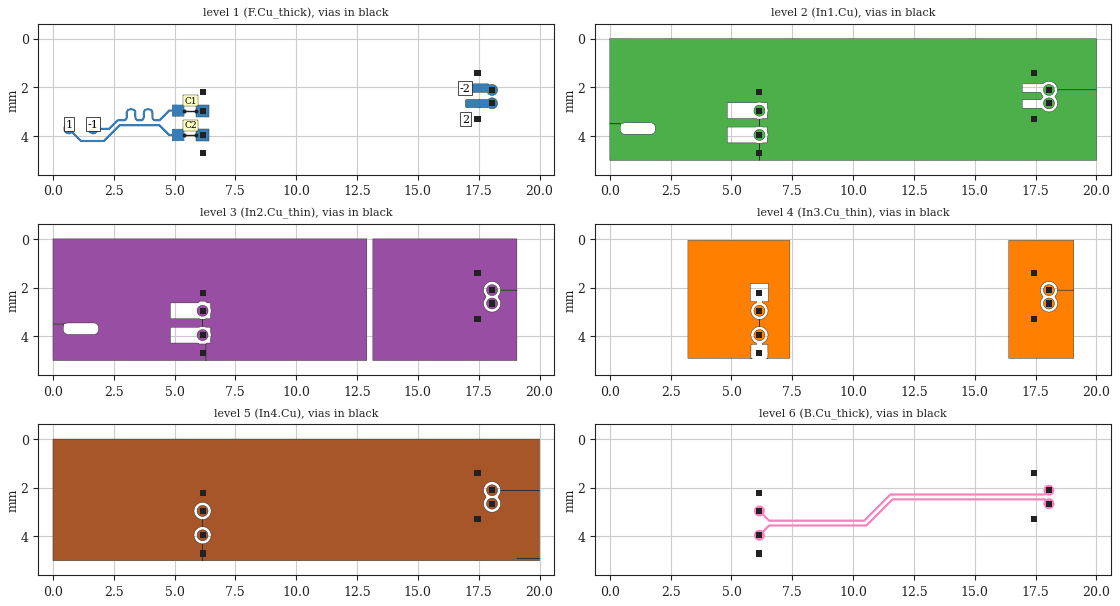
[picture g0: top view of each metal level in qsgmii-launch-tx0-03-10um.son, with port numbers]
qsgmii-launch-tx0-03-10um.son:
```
FTYP SONPROJ 19 ! Sonnet Project File
VER 18.56
HEADER
LIC antikernel2.1.65565
DAT 12/22/2024 21:07:28
BUILT_BY_CREATED xgeom 18.52 11/18/2021 20:28:07
BUILT_BY_SAVED sonnet 18.56
MDATE 12/22/2024 21:07:28
HDATE 12/22/2024 21:07:28
ANN Created by dxfgeo, Sonnet Software Inc.
END HEADER
DIM
ANG DEG
CAP PF
CON /OH
FREQ GHZ
IND NH
LNG MM
RES OH
END DIM
CONTROL
VARSWP
OPTIONS  -dj
SPEED 1
CACHE_ABS 2
Q_ACC N
END CONTROL
GEO
TMET "Free Space" 0 FREESPACE 376.7303136 0 0 0
BMET "Free Space" 0 FREESPACE 376.7303136 0 0 0
MET "Copper_1oz_thin" 1 NOR 58000000 0.5 0.035 
MET "Copper_1oz_thick" 2 TMM 58000000 0.5 0.035 2
MET "Copper_1oz_thick_down" 3 TMM 58000000 0.5 0.035 2 CDVY TDWN
MET "Copper_0.5oz_thin" 4 NOR 58000000 0.5 0.017 
MET "Copper_0.5oz_thick" 12 TMM 58000000 0.5 0.017 2
MET "Copper_0.5oz_thick_down" 5 TMM 58000000 0.5 0.017 2 CDVY TDWN
BOX 8 20 5 4000 1000 20 0
      5 1 1 0 0 0 0 "Air"
      0.04 3.5 1 0.025 0 0 0 "Soldermask"
      0.076 4.07 1 0.02 0 0 0 "Shengyi_S1000-2M"
      0.1 4.24 1 0.019 0 0 0 "Shengyi_S1000-2M"
      1.038 4.58 1 0.016 0 0 0 "Shengyi_S1000-2M"
      0.1 4.24 1 0.019 0 0 0 "Shengyi_S1000-2M"
      0.076 4.07 1 0.02 0 0 0 "Shengyi_S1000-2M"
      0.04 3.5 1 0.025 0 0 0 "Soldermask"
      5 1 1 0 0 0 0 "Air"
TECHLAY METAL F.Cu_thick L1D0 -2 -65534 CAD F.Cu_thick drawing 
1 0 1 N 1423 1 1 100 100 0 0 0 Y
END
END
TECHLAY VIA Via1 L7D0 -13 -65534 CAD Via1 drawing 
VIA POLYGON
1 0 -1 N 1433 1 1 100 100 0 0 0 Y
TOLEVEL 6 RING NOCOVERS
END
END
TECHLAY METAL F.Cu_thin <UNSPECIFIED> -1 -65534 CAD F.Cu_thin drawing 
1 0 0 N 1435 1 1 100 100 0 0 0 Y
END
END
TECHLAY METAL In1.Cu L2D0 -3 -65534 CAD In1.Cu drawing 
2 0 0 N 1442 1 1 100 100 0 0 0 Y
END
END
TECHLAY METAL In2.Cu_thin L3D0 -4 -65534 CAD In2.Cu drawing 
3 0 3 N 1445 1 1 100 100 0 0 0 Y
END
END
TECHLAY METAL In2.Cu_thick <UNSPECIFIED> -5 -65534 CAD In2.Cu_thick drawing 
3 0 4 N 1447 1 1 100 100 0 0 0 Y
END
END
TECHLAY METAL In3.Cu_thin L4D0 -8 -65534 CAD In5.Cu drawing 
4 0 3 N 1450 1 1 100 100 0 0 0 Y
END
END
TECHLAY METAL In3.Cu <UNSPECIFIED> -6 -65534 CAD In3.Cu drawing 
4 0 0 N 1468 1 1 100 100 0 0 0 Y
END
END
TECHLAY METAL In4.Cu L5D0 -10 -65534 CAD In6.Cu drawing 
5 0 0 N 1453 1 1 100 100 0 0 0 Y
END
END
TECHLAY METAL B.Cu_thick L6D0 -12 -65534 CAD B.Cu_thick drawing 
6 0 2 N 1456 1 1 100 100 0 0 0 Y
END
END
TECHLAY METAL B.Cu_thin <UNSPECIFIED> -11 -65534 CAD B.Cu_thin drawing 
6 0 0 N 1458 1 1 100 100 0 0 0 Y
END
END
TECHLAY METAL In3.Cu_thick <UNSPECIFIED> -9 -65534 CAD In5.Cu_thick drawing 
8 0 5 N 1462 1 1 100 100 0 0 0 Y
END
END
VALVAR WIDTH LNG 0.1 "Dim. Param."
VALVAR WIDTH2 LNG "WIDTH" "Dim. Param."
VALVAR SPACE LNG 0.15 "Dim. Param."
LORGN 0 5 U 
POR1 CUP Auto
GNDREF AUTO
TERMW FEED
POLY 42 1
87
-2 100 0 0 0 16.95 2.0305 
CUPGRP "Auto" LOCAL
ID 1425
END
POR1 CUP Auto
GNDREF AUTO
TERMW FEED
POLY 43 1
84
2 100 0 0 0 16.95 2.6655 
CUPGRP "Auto" LOCAL
ID 1427
END
POR1 CUP Auto
GNDREF FLOAT
TERMW FEED
POLY 1312 1
56
1 100 0 0 0 0.65 3.5 
CUPGRP "Auto" LOCAL
ID 1429
END
POR1 CUP Auto
GNDREF FLOAT
TERMW FEED
POLY 1313 1
418
-1 100 0 0 0 1.65 3.5 
CUPGRP "Auto" LOCAL
ID 1431
END
SMD 1 "C1"
ID 1390
GNDREF FLOAT
SBOX 5.525 5.775 2.918 2.993
PBSHW N
LPOS 5.65 2.918
TYPE IDEAL CAP 100000
SMDP 1 5.4 2.9555 L 3 1 
EXSMDP
GNDREF FLOAT
TERMW FEED
END EXSMDP
SMDP 1 5.9 2.9555 R 4 2 
EXSMDP
GNDREF FLOAT
TERMW FEED
END EXSMDP
END
SMD 1 "C2"
ID 1395
GNDREF FLOAT
SBOX 5.525 5.775 3.918 3.993
PBSHW N
LPOS 5.65 3.918
TYPE IDEAL CAP 100000
SMDP 1 5.4 3.9555 L 5 1 
EXSMDP
GNDREF FLOAT
TERMW FEED
END EXSMDP
SMDP 1 5.9 3.9555 R 6 2 
EXSMDP
GNDREF FLOAT
TERMW FEED
END EXSMDP
END
NUM 38
1 89 1 N 42 1 1 100 100 0 0 0 Y
TLAYNAM F.Cu_thick INH
16.95 1.9385
16.951 1.9305
16.953 1.9215
16.955 1.9135
16.958 1.9055
16.962 1.8985
16.967 1.8905
16.985 1.8725
16.993 1.8675
17 1.8635
17.008 1.8605
17.016 1.8585
17.025 1.8565
17.033 1.8555
17.867 1.8555
17.875 1.8565
17.884 1.8585
17.892 1.8605
17.9 1.8635
17.907 1.8675
17.915 1.8725
17.933 1.8905
17.938 1.8985
17.942 1.9055
17.943 1.9085
17.954 1.9025
17.974 1.8935
17.995 1.8875
18.017 1.8825
18.039 1.8805
18.061 1.8805
18.083 1.8825
18.105 1.8875
18.126 1.8935
18.146 1.9025
18.166 1.9125
18.184 1.9245
18.201 1.9385
18.217 1.9545
18.231 1.9715
18.243 1.9895
18.253 2.0095
18.262 2.0295
18.268 2.0505
18.273 2.0725
18.275 2.0945
18.275 2.1165
18.273 2.1385
18.268 2.1605
18.262 2.1815
18.253 2.2015
18.243 2.2215
18.231 2.2395
18.217 2.2565
18.201 2.2725
18.184 2.2865
18.166 2.2985
18.146 2.3085
18.126 2.3175
18.105 2.3235
18.083 2.3285
18.061 2.3305
18.039 2.3305
18.017 2.3285
17.995 2.3235
17.974 2.3175
17.954 2.3085
17.934 2.2985
17.916 2.2865
17.899 2.2725
17.883 2.2565
17.869 2.2395
17.857 2.2215
17.849 2.2055
17.033 2.2055
17.025 2.2045
17.016 2.2025
17.008 2.2005
17 2.1975
16.993 2.1935
16.985 2.1885
16.967 2.1705
16.962 2.1625
16.958 2.1555
16.955 2.1475
16.953 2.1395
16.951 2.1305
16.95 2.1225
16.95 1.9385
END
1 86 1 N 43 1 1 100 100 0 0 0 Y
TLAYNAM F.Cu_thick INH
16.95 2.5735
16.951 2.5655
16.953 2.5565
16.955 2.5485
16.958 2.5405
16.962 2.5335
16.967 2.5255
16.985 2.5075
16.993 2.5025
17 2.4985
17.008 2.4955
17.016 2.4935
17.025 2.4915
17.033 2.4905
17.867 2.4905
17.875 2.4915
17.884 2.4935
17.892 2.4955
17.899 2.4885
17.916 2.4745
17.934 2.4625
17.954 2.4525
17.974 2.4435
17.995 2.4375
18.017 2.4325
18.039 2.4305
18.061 2.4305
18.083 2.4325
18.105 2.4375
18.126 2.4435
18.146 2.4525
18.166 2.4625
18.184 2.4745
18.201 2.4885
18.217 2.5045
18.231 2.5215
18.243 2.5395
18.253 2.5595
18.262 2.5795
18.268 2.6005
18.273 2.6225
18.275 2.6445
18.275 2.6665
18.273 2.6885
18.268 2.7105
18.262 2.7315
18.253 2.7515
18.243 2.7715
18.231 2.7895
18.217 2.8065
18.201 2.8225
18.184 2.8365
18.166 2.8485
18.146 2.8585
18.126 2.8675
18.105 2.8735
18.083 2.8785
18.061 2.8805
18.039 2.8805
18.017 2.8785
17.995 2.8735
17.974 2.8675
17.954 2.8585
17.934 2.8485
17.916 2.8365
17.907 2.8285
17.9 2.8325
17.892 2.8355
17.884 2.8375
17.875 2.8395
17.867 2.8405
17.033 2.8405
17.025 2.8395
17.016 2.8375
17.008 2.8355
17 2.8325
16.993 2.8285
16.985 2.8235
16.967 2.8055
16.962 2.7975
16.958 2.7905
16.955 2.7825
16.953 2.7745
16.951 2.7655
16.95 2.7575
16.95 2.5735
END
1 5 1 N 75 1 1 100 100 0 0 0 Y
TLAYNAM F.Cu_thick INH
5.9 2.7055
6.4 2.7055
6.4 3.2055
5.9 3.2055
5.9 2.7055
END
1 5 1 N 76 1 1 100 100 0 0 0 Y
TLAYNAM F.Cu_thick INH
5.9 3.7055
6.4 3.7055
6.4 4.2055
5.9 4.2055
5.9 3.7055
END
1 101 1 N 1312 1 1 100 100 0 0 0 Y
TLAYNAM F.Cu_thick INH
2.102 4.2495
2.107 4.2475
2.111 4.2465
2.115 4.2445
2.118 4.2415
2.122 4.2385
2.128 4.2325
2.129 4.2305
2.759 3.6005
4.357 3.6005
4.748 3.9915
4.752 3.9945
4.756 3.9965
4.76 3.9975
4.764 3.9995
4.768 4.0005
4.9 4.0005
4.9 4.2055
5.4 4.2055
5.4 3.7055
4.9 3.7055
4.9 3.9105
4.793 3.9105
4.402 3.5195
4.398 3.5165
4.394 3.5145
4.39 3.5135
4.386 3.5115
4.382 3.5105
2.734 3.5105
2.73 3.5115
2.726 3.5135
2.722 3.5145
2.718 3.5165
2.714 3.5195
2.073 4.1605
1.168 4.1605
0.837 3.8295
0.843 3.8215
0.853 3.8015
0.862 3.7815
0.868 3.7605
0.873 3.7385
0.875 3.7165
0.875 3.6945
0.873 3.6725
0.868 3.6505
0.862 3.6295
0.853 3.6095
0.843 3.5895
0.831 3.5715
0.817 3.5545
0.801 3.5385
0.784 3.5245
0.766 3.5125
0.746 3.5025
0.7404444444 3.5
0.5595555556 3.5
0.554 3.5025
0.534 3.5125
0.516 3.5245
0.499 3.5385
0.483 3.5545
0.469 3.5715
0.457 3.5895
0.447 3.6095
0.438 3.6295
0.432 3.6505
0.427 3.6725
0.425 3.6945
0.425 3.7165
0.427 3.7385
0.432 3.7605
0.438 3.7815
0.447 3.8015
0.457 3.8215
0.469 3.8395
0.483 3.8565
0.499 3.8725
0.516 3.8865
0.534 3.8985
0.554 3.9085
0.574 3.9175
0.595 3.9235
0.617 3.9285
0.639 3.9305
0.661 3.9305
0.683 3.9285
0.705 3.9235
0.726 3.9175
0.746 3.9085
0.766 3.8985
0.774 3.8925
1.123 4.2415
1.127 4.2445
1.131 4.2465
1.135 4.2475
1.139 4.2495
1.143 4.2505
2.098 4.2505
2.102 4.2495
END
1 450 1 N 1313 1 1 100 100 0 0 0 Y
TLAYNAM F.Cu_thick INH
1.683 3.9285
1.705 3.9235
1.726 3.9175
1.746 3.9085
1.766 3.8985
1.784 3.8865
1.801 3.8725
1.817 3.8565
1.831 3.8395
1.843 3.8215
1.853 3.8015
1.862 3.7815
1.868 3.7605
1.87 3.7505
2.316 3.7505
2.32 3.7495
2.324 3.7475
2.328 3.7465
2.332 3.7445
2.336 3.7415
2.677 3.4005
2.904 3.4005
2.906 3.3995
2.908 3.3995
2.931 3.3975
2.932 3.3975
2.936 3.3965
2.94 3.3945
2.944 3.3935
2.957 3.3895
2.962 3.3885
2.966 3.3865
2.97 3.3855
2.974 3.3835
2.975 3.3825
2.978 3.3805
3.002 3.3685
3.018 3.3545
3.02 3.3535
3.023 3.3505
3.027 3.3485
3.03 3.3445
3.05 3.3205
3.053 3.3165
3.068 3.2885
3.069 3.2845
3.071 3.2805
3.072 3.2765
3.072 3.2745
3.079 3.2535
3.08 3.2495
3.08 3.2355
3.081 3.2265
3.081 3.2255
3.082 3.2225
3.082 3.0485
3.083 3.0315
3.083 3.0305
3.089 3.0095
3.095 2.9955
3.104 2.9815
3.115 2.9705
3.135 2.9575
3.144 2.9535
3.161 2.9495
3.183 2.9475
3.241 2.9475
3.267 2.9495
3.283 2.9555
3.302 2.9655
3.315 2.9765
3.326 2.9885
3.334 3.0045
3.339 3.0175
3.339 3.0185
3.342 3.0495
3.342 3.2225
3.343 3.2245
3.343 3.2265
3.344 3.2455
3.345 3.2495
3.346 3.2545
3.348 3.2595
3.351 3.2695
3.351 3.2715
3.352 3.2765
3.354 3.2805
3.366 3.3065
3.368 3.3105
3.37 3.3125
3.384 3.3335
3.391 3.3405
3.394 3.3425
3.401 3.3495
3.403 3.3525
3.409 3.3585
3.424 3.3685
3.428 3.3725
3.432 3.3745
3.436 3.3775
3.462 3.3895
3.47 3.3915
3.475 3.3925
3.484 3.3945
3.488 3.3955
3.492 3.3975
3.497 3.3985
3.498 3.3985
3.516 3.3995
3.518 3.3995
3.52 3.4005
3.604 3.4005
3.606 3.3995
3.608 3.3995
3.631 3.3975
3.632 3.3975
3.636 3.3965
3.64 3.3945
3.644 3.3935
3.657 3.3895
3.662 3.3885
3.666 3.3865
3.67 3.3855
3.674 3.3835
3.675 3.3825
3.678 3.3805
3.702 3.3685
3.718 3.3545
3.72 3.3535
3.723 3.3505
3.727 3.3485
3.73 3.3445
3.75 3.3205
3.753 3.3165
3.768 3.2885
3.769 3.2845
3.771 3.2805
3.772 3.2765
3.772 3.2745
3.779 3.2535
3.78 3.2495
3.78 3.2355
3.781 3.2265
3.781 3.2255
3.782 3.2225
3.782 3.0495
3.785 3.0215
3.79 3.0065
3.8 2.9875
3.805 2.9805
3.806 2.9805
3.824 2.9645
3.842 2.9555
3.858 2.9495
3.884 2.9475
3.941 2.9475
3.967 2.9495
3.983 2.9555
4.002 2.9655
4.015 2.9765
4.026 2.9885
4.034 3.0045
4.039 3.0175
4.039 3.0185
4.042 3.0495
4.042 3.2225
4.043 3.2245
4.043 3.2265
4.044 3.2455
4.045 3.2495
4.046 3.2545
4.048 3.2595
4.051 3.2695
4.051 3.2715
4.052 3.2765
4.054 3.2805
4.066 3.3065
4.068 3.3105
4.07 3.3125
4.084 3.3335
4.091 3.3405
4.094 3.3425
4.101 3.3495
4.103 3.3525
4.109 3.3585
4.124 3.3685
4.128 3.3725
4.132 3.3745
4.136 3.3775
4.162 3.3895
4.17 3.3915
4.175 3.3925
4.184 3.3945
4.188 3.3955
4.192 3.3975
4.197 3.3985
4.198 3.3985
4.216 3.3995
4.219 3.4005
4.382 3.4005
4.386 3.3995
4.39 3.3975
4.394 3.3965
4.398 3.3945
4.402 3.3915
4.793 3.0005
4.9 3.0005
4.9 3.2055
5.4 3.2055
5.4 2.7055
4.9 2.7055
4.9 2.9105
4.768 2.9105
4.764 2.9115
4.76 2.9135
4.756 2.9145
4.752 2.9165
4.748 2.9195
4.357 3.3105
4.233 3.3105
4.211 3.3085
4.194 3.3045
4.185 3.3005
4.165 3.2875
4.154 3.2765
4.145 3.2615
4.139 3.2485
4.133 3.2275
4.133 3.2265
4.132 3.2095
4.132 3.0355
4.131 3.0325
4.131 3.0315
4.13 3.0225
4.13 3.0085
4.129 3.0045
4.122 2.9835
4.122 2.9815
4.121 2.9775
4.119 2.9735
4.118 2.9695
4.103 2.9415
4.1 2.9375
4.08 2.9135
4.077 2.9095
4.073 2.9075
4.07 2.9045
4.068 2.9035
4.052 2.8895
4.028 2.8775
4.025 2.8745
4.024 2.8745
4.02 2.8725
4.016 2.8715
4.012 2.8695
4.007 2.8685
3.994 2.8645
3.986 2.8615
3.982 2.8605
3.981 2.8605
3.958 2.8585
3.956 2.8585
3.954 2.8575
3.87 2.8575
3.867 2.8585
3.866 2.8585
3.843 2.8605
3.835 2.8625
3.83 2.8645
3.818 2.8685
3.817 2.8685
3.813 2.8695
3.809 2.8715
3.804 2.8725
3.801 2.8745
3.8 2.8745
3.781 2.8855
3.777 2.8875
3.773 2.8905
3.77 2.8935
3.766 2.8965
3.759 2.9025
3.758 2.9025
3.755 2.9045
3.751 2.9075
3.745 2.9135
3.724 2.9375
3.712 2.9615
3.709 2.9645
3.709 2.9655
3.707 2.9695
3.706 2.9735
3.704 2.9775
3.703 2.9825
3.696 3.0035
3.695 3.0085
3.693 3.0315
3.693 3.0325
3.692 3.0355
3.692 3.2085
3.689 3.2395
3.689 3.2405
3.684 3.2535
3.676 3.2695
3.665 3.2815
3.652 3.2925
3.633 3.3025
3.617 3.3085
3.591 3.3105
3.533 3.3105
3.511 3.3085
3.494 3.3045
3.485 3.3005
3.465 3.2875
3.454 3.2765
3.445 3.2615
3.439 3.2485
3.433 3.2275
3.433 3.2265
3.432 3.2095
3.432 3.0355
3.431 3.0325
3.431 3.0315
3.43 3.0225
3.43 3.0085
3.429 3.0045
3.422 2.9835
3.422 2.9815
3.421 2.9775
3.419 2.9735
3.418 2.9695
3.403 2.9415
3.4 2.9375
3.38 2.9135
3.377 2.9095
3.373 2.9075
3.37 2.9045
3.368 2.9035
3.352 2.8895
3.328 2.8775
3.325 2.8745
3.324 2.8745
3.32 2.8725
3.316 2.8715
3.312 2.8695
3.307 2.8685
3.294 2.8645
3.286 2.8615
3.282 2.8605
3.281 2.8605
3.258 2.8585
3.256 2.8585
3.254 2.8575
3.168 2.8575
3.166 2.8585
3.148 2.8595
3.147 2.8595
3.142 2.8605
3.141 2.8615
3.125 2.8655
3.12 2.8665
3.112 2.8685
3.086 2.8805
3.082 2.8835
3.078 2.8855
3.074 2.8895
3.059 2.8995
3.053 2.9055
3.051 2.9085
3.044 2.9155
3.041 2.9175
3.034 2.9245
3.02 2.9455
3.018 2.9475
3.016 2.9515
3.004 2.9775
3.003 2.9795
3.003 2.9815
3.002 2.9835
3.001 2.9865
3.001 2.9885
2.998 2.9985
2.996 3.0035
2.995 3.0085
2.994 3.0125
2.993 3.0315
2.993 3.0335
2.992 3.0355
2.992 3.2085
2.989 3.2395
2.989 3.2405
2.984 3.2535
2.976 3.2695
2.965 3.2815
2.952 3.2925
2.933 3.3025
2.917 3.3085
2.891 3.3105
2.652 3.3105
2.647 3.3115
2.643 3.3135
2.639 3.3145
2.635 3.3165
2.631 3.3195
2.622 3.3285
2.621 3.3305
2.291 3.6605
1.87 3.6605
1.868 3.6505
1.862 3.6295
1.853 3.6095
1.843 3.5895
1.831 3.5715
1.817 3.5545
1.801 3.5385
1.784 3.5245
1.766 3.5125
1.746 3.5025
1.740444444 3.5
1.559555556 3.5
1.554 3.5025
1.534 3.5125
1.516 3.5245
1.499 3.5385
1.483 3.5545
1.469 3.5715
1.457 3.5895
1.447 3.6095
1.438 3.6295
1.432 3.6505
1.427 3.6725
1.425 3.6945
1.425 3.7165
1.427 3.7385
1.432 3.7605
1.438 3.7815
1.447 3.8015
1.457 3.8215
1.469 3.8395
1.483 3.8565
1.499 3.8725
1.516 3.8865
1.534 3.8985
1.554 3.9085
1.574 3.9175
1.595 3.9235
1.617 3.9285
1.639 3.9305
1.661 3.9305
1.683 3.9285
END
VIA POLYGON
1 5 -1 N 953 1 1 100 100 0 0 0 Y
TOLEVEL 6 RING NOCOVERS
TLAYNAM Via1 INH
17.325 1.2705
17.575 1.2705
17.575 1.5205
17.325 1.5205
17.325 1.2705
END
VIA POLYGON
1 5 -1 N 954 1 1 100 100 0 0 0 Y
TOLEVEL 6 RING NOCOVERS
TLAYNAM Via1 INH
17.325 3.1755
17.575 3.1755
17.575 3.4255
17.325 3.4255
17.325 3.1755
END
VIA POLYGON
1 5 -1 N 962 1 1 100 100 0 0 0 Y
TOLEVEL 6 RING NOCOVERS
TLAYNAM Via1 INH
17.925 1.9805
18.175 1.9805
18.175 2.2305
17.925 2.2305
17.925 1.9805
END
VIA POLYGON
1 5 -1 N 963 1 1 100 100 0 0 0 Y
TOLEVEL 6 RING NOCOVERS
TLAYNAM Via1 INH
17.925 2.5305
18.175 2.5305
18.175 2.7805
17.925 2.7805
17.925 2.5305
END
VIA POLYGON
1 5 -1 N 1007 1 1 100 100 0 0 0 Y
TOLEVEL 6 RING NOCOVERS
TLAYNAM Via1 INH
6.025 2.0805
6.275 2.0805
6.275 2.3305
6.025 2.3305
6.025 2.0805
END
VIA POLYGON
1 5 -1 N 1008 1 1 100 100 0 0 0 Y
TOLEVEL 6 RING NOCOVERS
TLAYNAM Via1 INH
6.025 2.8305
6.275 2.8305
6.275 3.0805
6.025 3.0805
6.025 2.8305
END
VIA POLYGON
1 5 -1 N 1009 1 1 100 100 0 0 0 Y
TOLEVEL 6 RING NOCOVERS
TLAYNAM Via1 INH
6.025 3.8305
6.275 3.8305
6.275 4.0805
6.025 4.0805
6.025 3.8305
END
VIA POLYGON
1 5 -1 N 1010 1 1 100 100 0 0 0 Y
TOLEVEL 6 RING NOCOVERS
TLAYNAM Via1 INH
6.025 4.5805
6.275 4.5805
6.275 4.8305
6.025 4.8305
6.025 4.5805
END
2 65 0 N 366 1 1 100 100 0 0 0 Y
TLAYNAM In1.Cu INH
5.925 2.9445
5.927 2.9225
5.932 2.9005
5.938 2.8795
5.947 2.8595
5.957 2.8395
5.969 2.8215
5.983 2.8045
5.999 2.7885
6.016 2.7745
6.034 2.7625
6.054 2.7525
6.074 2.7435
6.095 2.7375
6.117 2.7325
6.139 2.7305
6.161 2.7305
6.183 2.7325
6.205 2.7375
6.226 2.7435
6.246 2.7525
6.266 2.7625
6.284 2.7745
6.301 2.7885
6.317 2.8045
6.331 2.8215
6.343 2.8395
6.353 2.8595
6.362 2.8795
6.368 2.9005
6.373 2.9225
6.375 2.9445
6.375 2.9665
6.373 2.9885
6.368 3.0105
6.362 3.0315
6.353 3.0515
6.343 3.0715
6.331 3.0895
6.317 3.1065
6.301 3.1225
6.284 3.1365
6.266 3.1485
6.246 3.1585
6.226 3.1675
6.205 3.1735
6.183 3.1785
6.161 3.1805
6.139 3.1805
6.117 3.1785
6.095 3.1735
6.074 3.1675
6.054 3.1585
6.034 3.1485
6.016 3.1365
5.999 3.1225
5.983 3.1065
5.969 3.0895
5.957 3.0715
5.947 3.0515
5.938 3.0315
5.932 3.0105
5.927 2.9885
5.925 2.9665
5.925 2.9445
END
2 65 0 N 367 1 1 100 100 0 0 0 Y
TLAYNAM In1.Cu INH
5.925 3.9445
5.927 3.9225
5.932 3.9005
5.938 3.8795
5.947 3.8595
5.957 3.8395
5.969 3.8215
5.983 3.8045
5.999 3.7885
6.016 3.7745
6.034 3.7625
6.054 3.7525
6.074 3.7435
6.095 3.7375
6.117 3.7325
6.139 3.7305
6.161 3.7305
6.183 3.7325
6.205 3.7375
6.226 3.7435
6.246 3.7525
6.266 3.7625
6.284 3.7745
6.301 3.7885
6.317 3.8045
6.331 3.8215
6.343 3.8395
6.353 3.8595
6.362 3.8795
6.368 3.9005
6.373 3.9225
6.375 3.9445
6.375 3.9665
6.373 3.9885
6.368 4.0105
6.362 4.0315
6.353 4.0515
6.343 4.0715
6.331 4.0895
6.317 4.1065
6.301 4.1225
6.284 4.1365
6.266 4.1485
6.246 4.1585
6.226 4.1675
6.205 4.1735
6.183 4.1785
6.161 4.1805
6.139 4.1805
6.117 4.1785
6.095 4.1735
6.074 4.1675
6.054 4.1585
6.034 4.1485
6.016 4.1365
5.999 4.1225
5.983 4.1065
5.969 4.0895
5.957 4.0715
5.947 4.0515
5.938 4.0315
5.932 4.0105
5.927 3.9885
5.925 3.9665
5.925 3.9445
END
2 65 0 N 372 1 1 100 100 0 0 0 Y
TLAYNAM In1.Cu INH
17.825 2.0945
17.827 2.0725
17.832 2.0505
17.838 2.0295
17.847 2.0095
17.857 1.9895
17.869 1.9715
17.883 1.9545
17.899 1.9385
17.916 1.9245
17.934 1.9125
17.954 1.9025
17.974 1.8935
17.995 1.8875
18.017 1.8825
18.039 1.8805
18.061 1.8805
18.083 1.8825
18.105 1.8875
18.126 1.8935
18.146 1.9025
18.166 1.9125
18.184 1.9245
18.201 1.9385
18.217 1.9545
18.231 1.9715
18.243 1.9895
18.253 2.0095
18.262 2.0295
18.268 2.0505
18.273 2.0725
18.275 2.0945
18.275 2.1165
18.273 2.1385
18.268 2.1605
18.262 2.1815
18.253 2.2015
18.243 2.2215
18.231 2.2395
18.217 2.2565
18.201 2.2725
18.184 2.2865
18.166 2.2985
18.146 2.3085
18.126 2.3175
18.105 2.3235
18.083 2.3285
18.061 2.3305
18.039 2.3305
18.017 2.3285
17.995 2.3235
17.974 2.3175
17.954 2.3085
17.934 2.2985
17.916 2.2865
17.899 2.2725
17.883 2.2565
17.869 2.2395
17.857 2.2215
17.847 2.2015
17.838 2.1815
17.832 2.1605
17.827 2.1385
17.825 2.1165
17.825 2.0945
END
2 65 0 N 373 1 1 100 100 0 0 0 Y
TLAYNAM In1.Cu INH
17.825 2.6445
17.827 2.6225
17.832 2.6005
17.838 2.5795
17.847 2.5595
17.857 2.5395
17.869 2.5215
17.883 2.5045
17.899 2.4885
17.916 2.4745
17.934 2.4625
17.954 2.4525
17.974 2.4435
17.995 2.4375
18.017 2.4325
18.039 2.4305
18.061 2.4305
18.083 2.4325
18.105 2.4375
18.126 2.4435
18.146 2.4525
18.166 2.4625
18.184 2.4745
18.201 2.4885
18.217 2.5045
18.231 2.5215
18.243 2.5395
18.253 2.5595
18.262 2.5795
18.268 2.6005
18.273 2.6225
18.275 2.6445
18.275 2.6665
18.273 2.6885
18.268 2.7105
18.262 2.7315
18.253 2.7515
18.243 2.7715
18.231 2.7895
18.217 2.8065
18.201 2.8225
18.184 2.8365
18.166 2.8485
18.146 2.8585
18.126 2.8675
18.105 2.8735
18.083 2.8785
18.061 2.8805
18.039 2.8805
18.017 2.8785
17.995 2.8735
17.974 2.8675
17.954 2.8585
17.934 2.8485
17.916 2.8365
17.899 2.8225
17.883 2.8065
17.869 2.7895
17.857 2.7715
17.847 2.7515
17.838 2.7315
17.832 2.7105
17.827 2.6885
17.825 2.6665
17.825 2.6445
END
2 177 0 N 1339 1 1 100 100 0 0 0 Y
TLAYNAM In1.Cu INH
20 1.1
20 0
0 0
0 0.0605
0 0.6731470588
0 0.7372857143
0 0.8285
0 1.578863636
0 1.673714286
0 1.737285714
0 1.8285
0 2.578863636
0 2.673714286
0 2.737285714
0 2.8285
0 3.44
0 3.5
0.423 3.5
0.46 3.5
0.46 3.467015152
0.476 3.4835
0.523 3.4835
0.586 3.4575
0.625 3.4555
1.675 3.4555
1.714 3.4575
1.787 3.4875
1.843 3.5435
1.873 3.6165
1.874 3.6435
1.875 3.6555
1.875 3.7305
1.874 3.7435
1.873 3.7695
1.843 3.8425
1.787 3.8985
1.714 3.9285
1.675 3.9305
1.195 3.9305
1.195 3.93
1.105 3.93
1.105 3.9305
0.625 3.9305
0.586 3.9285
0.513 3.8985
0.457 3.8425
0.427 3.7695
0.425 3.7305
0.425 3.6555
0.427 3.6165
0.446 3.5695
0.448 3.5645
0.444 3.5175
0.423 3.5
0 3.5
0 3.5
0 3.578863636
0 3.673714286
0 3.737285714
0 3.8285
0 4.4515
0 4.578863636
0 4.673714286
0 4.735785714
0 4.9095
0 4.91
0.002 4.91
0.002 5
6.15 5
6.15 4.3105
6.04 4.2935
6.029 4.2875
6.001 4.2805
4.825 4.2805
4.825 3.6305
6.001 3.6305
6.029 3.6235
6.04 3.6175
6.15 3.6005
6.15 3.3105
6.04 3.2935
6.029 3.2875
6.001 3.2805
4.825 3.2805
4.825 2.6305
6.001 2.6305
6.029 2.6235
6.04 2.6175
6.15 2.6005
6.26 2.6175
6.271 2.6235
6.299 2.6305
6.475 2.6305
6.475 2.8065
6.482 2.8345
6.485 2.8415
6.488 2.8455
6.505 2.9555
6.488 3.0655
6.487 3.0655
6.482 3.0765
6.475 3.1045
6.475 3.2805
6.299 3.2805
6.271 3.2875
6.26 3.2935
6.15 3.3105
6.15 3.3105
6.15 3.6005
6.26 3.6175
6.271 3.6235
6.299 3.6305
6.475 3.6305
6.475 3.8065
6.482 3.8345
6.485 3.8415
6.488 3.8455
6.505 3.9555
6.488 4.0655
6.487 4.0655
6.482 4.0765
6.475 4.1045
6.475 4.2805
6.299 4.2805
6.271 4.2875
6.26 4.2935
6.15 4.3105
6.15 5
20 5
20 2.1055
18.405 2.1055
18.388 2.2155
18.337 2.3145
18.314 2.3375
18.296 2.3805
18.314 2.4235
18.337 2.4465
18.388 2.5455
18.405 2.6555
18.388 2.7655
18.337 2.8645
18.259 2.9425
18.233 2.9555
18.16 2.9935
18.05 3.0105
17.94 2.9935
17.877 2.9605
17.841 2.9425
17.772 2.8735
17.729 2.8555
16.95 2.8555
16.95 2.5055
17.695 2.5055
17.714 2.5025
17.75 2.4715
17.763 2.4465
17.786 2.4235
17.804 2.3805
17.786 2.3375
17.763 2.3145
17.725 2.2395
17.713 2.2235
17.67 2.2055
16.95 2.2055
16.95 1.8555
17.779 1.8555
17.822 1.8375
17.841 1.8185
17.94 1.7675
18.05 1.7505
18.16 1.7675
18.259 1.8185
18.337 1.8965
18.388 1.9955
18.405 2.1055
20 2.1055
20 1.1
END
3 65 3 N 393 1 1 100 100 0 0 0 Y
TLAYNAM In2.Cu_thin INH
17.825 2.0945
17.827 2.0725
17.832 2.0505
17.838 2.0295
17.847 2.0095
17.857 1.9895
17.869 1.9715
17.883 1.9545
17.899 1.9385
17.916 1.9245
17.934 1.9125
17.954 1.9025
17.974 1.8935
17.995 1.8875
18.017 1.8825
18.039 1.8805
18.061 1.8805
18.083 1.8825
18.105 1.8875
18.126 1.8935
18.146 1.9025
18.166 1.9125
18.184 1.9245
18.201 1.9385
18.217 1.9545
18.231 1.9715
18.243 1.9895
18.253 2.0095
18.262 2.0295
18.268 2.0505
18.273 2.0725
18.275 2.0945
18.275 2.1165
18.273 2.1385
18.268 2.1605
18.262 2.1815
18.253 2.2015
18.243 2.2215
18.231 2.2395
18.217 2.2565
18.201 2.2725
18.184 2.2865
18.166 2.2985
18.146 2.3085
18.126 2.3175
18.105 2.3235
18.083 2.3285
18.061 2.3305
18.039 2.3305
18.017 2.3285
17.995 2.3235
17.974 2.3175
17.954 2.3085
17.934 2.2985
17.916 2.2865
17.899 2.2725
17.883 2.2565
17.869 2.2395
17.857 2.2215
17.847 2.2015
17.838 2.1815
17.832 2.1605
17.827 2.1385
17.825 2.1165
17.825 2.0945
END
3 65 3 N 394 1 1 100 100 0 0 0 Y
TLAYNAM In2.Cu_thin INH
17.825 2.6445
17.827 2.6225
17.832 2.6005
17.838 2.5795
17.847 2.5595
17.857 2.5395
17.869 2.5215
17.883 2.5045
17.899 2.4885
17.916 2.4745
17.934 2.4625
17.954 2.4525
17.974 2.4435
17.995 2.4375
18.017 2.4325
18.039 2.4305
18.061 2.4305
18.083 2.4325
18.105 2.4375
18.126 2.4435
18.146 2.4525
18.166 2.4625
18.184 2.4745
18.201 2.4885
18.217 2.5045
18.231 2.5215
18.243 2.5395
18.253 2.5595
18.262 2.5795
18.268 2.6005
18.273 2.6225
18.275 2.6445
18.275 2.6665
18.273 2.6885
18.268 2.7105
18.262 2.7315
18.253 2.7515
18.243 2.7715
18.231 2.7895
18.217 2.8065
18.201 2.8225
18.184 2.8365
18.166 2.8485
18.146 2.8585
18.126 2.8675
18.105 2.8735
18.083 2.8785
18.061 2.8805
18.039 2.8805
18.017 2.8785
17.995 2.8735
17.974 2.8675
17.954 2.8585
17.934 2.8485
17.916 2.8365
17.899 2.8225
17.883 2.8065
17.869 2.7895
17.857 2.7715
17.847 2.7515
17.838 2.7315
17.832 2.7105
17.827 2.6885
17.825 2.6665
17.825 2.6445
END
3 65 3 N 437 1 1 100 100 0 0 0 Y
TLAYNAM In2.Cu_thin INH
5.925 2.9445
5.927 2.9225
5.932 2.9005
5.938 2.8795
5.947 2.8595
5.957 2.8395
5.969 2.8215
5.983 2.8045
5.999 2.7885
6.016 2.7745
6.034 2.7625
6.054 2.7525
6.074 2.7435
6.095 2.7375
6.117 2.7325
6.139 2.7305
6.161 2.7305
6.183 2.7325
6.205 2.7375
6.226 2.7435
6.246 2.7525
6.266 2.7625
6.284 2.7745
6.301 2.7885
6.317 2.8045
6.331 2.8215
6.343 2.8395
6.353 2.8595
6.362 2.8795
6.368 2.9005
6.373 2.9225
6.375 2.9445
6.375 2.9665
6.373 2.9885
6.368 3.0105
6.362 3.0315
6.353 3.0515
6.343 3.0715
6.331 3.0895
6.317 3.1065
6.301 3.1225
6.284 3.1365
6.266 3.1485
6.246 3.1585
6.226 3.1675
6.205 3.1735
6.183 3.1785
6.161 3.1805
6.139 3.1805
6.117 3.1785
6.095 3.1735
6.074 3.1675
6.054 3.1585
6.034 3.1485
6.016 3.1365
5.999 3.1225
5.983 3.1065
5.969 3.0895
5.957 3.0715
5.947 3.0515
5.938 3.0315
5.932 3.0105
5.927 2.9885
5.925 2.9665
5.925 2.9445
END
3 65 3 N 438 1 1 100 100 0 0 0 Y
TLAYNAM In2.Cu_thin INH
5.925 3.9445
5.927 3.9225
5.932 3.9005
5.938 3.8795
5.947 3.8595
5.957 3.8395
5.969 3.8215
5.983 3.8045
5.999 3.7885
6.016 3.7745
6.034 3.7625
6.054 3.7525
6.074 3.7435
6.095 3.7375
6.117 3.7325
6.139 3.7305
6.161 3.7305
6.183 3.7325
6.205 3.7375
6.226 3.7435
6.246 3.7525
6.266 3.7625
6.284 3.7745
6.301 3.7885
6.317 3.8045
6.331 3.8215
6.343 3.8395
6.353 3.8595
6.362 3.8795
6.368 3.9005
6.373 3.9225
6.375 3.9445
6.375 3.9665
6.373 3.9885
6.368 4.0105
6.362 4.0315
6.353 4.0515
6.343 4.0715
6.331 4.0895
6.317 4.1065
6.301 4.1225
6.284 4.1365
6.266 4.1485
6.246 4.1585
6.226 4.1675
6.205 4.1735
6.183 4.1785
6.161 4.1805
6.139 4.1805
6.117 4.1785
6.095 4.1735
6.074 4.1675
6.054 4.1585
6.034 4.1485
6.016 4.1365
5.999 4.1225
5.983 4.1065
5.969 4.0895
5.957 4.0715
5.947 4.0515
5.938 4.0315
5.932 4.0105
5.927 3.9885
5.925 3.9665
5.925 3.9445
END
3 52 3 N 1353 1 1 100 100 0 0 0 Y
TLAYNAM In2.Cu_thin INH
19.0705 3.42
19.0705 2.1055
18.405 2.1055
18.388 2.2155
18.337 2.3145
18.314 2.3375
18.296 2.3805
18.314 2.4235
18.337 2.4465
18.388 2.5455
18.405 2.6555
18.388 2.7655
18.337 2.8645
18.259 2.9425
18.233 2.9555
18.16 2.9935
18.05 3.0105
17.94 2.9935
17.877 2.9605
17.841 2.9425
17.763 2.8645
17.712 2.7655
17.695 2.6555
17.712 2.5455
17.739 2.4945
17.763 2.4465
17.786 2.4235
17.804 2.3805
17.786 2.3375
17.763 2.3145
17.712 2.2155
17.695 2.1055
17.712 1.9955
17.739 1.9445
17.763 1.8965
17.841 1.8185
17.94 1.7675
18.05 1.7505
18.16 1.7675
18.259 1.8185
18.337 1.8965
18.388 1.9955
18.405 2.1055
19.0705 2.1055
19.0705 0.0605
19.0705 0
13.15 0
13.15 0.0605
13.15 3.42
13.15 5
19.0705 5
19.0705 3.42
END
3 161 3 N 1403 1 1 100 100 0 0 0 Y
TLAYNAM In2.Cu_thin INH
12.9 4.9095
12.9 4.9095
12.9 1.62
12.9 0
3.61 0
3.61 4.718447855e-16
1.110223025e-16 4.718447855e-16
1.110223025e-16 0.0605
1.110223025e-16 0.6731470588
1.110223025e-16 0.7372857143
1.110223025e-16 0.8285
1.110223025e-16 1.578863636
1.110223025e-16 1.673714286
1.110223025e-16 1.737285714
1.110223025e-16 1.8285
1.110223025e-16 2.578863636
1.110223025e-16 2.673714286
1.110223025e-16 2.737285714
1.110223025e-16 2.8285
1.110223025e-16 3.44
1.110223025e-16 3.5
0.423 3.5
0.46 3.5
0.46 3.467015152
0.4600000005 3.467015152
0.476 3.4835
0.523 3.4835
0.586 3.4575
0.625 3.4555
0.784 3.4555
0.784 3.4555
1.516 3.4555
1.516 3.4555
1.675 3.4555
1.714 3.4575
1.787 3.4875
1.787 3.4875
1.787 3.4875
1.787 3.4875
1.843 3.5435
1.843 3.5435
1.843 3.5435
1.843 3.5435
1.873 3.6165
1.873 3.6165
1.873 3.6165
1.874 3.6435
1.875 3.6555
1.875 3.6555
1.875 3.7305
1.875 3.7305
1.874 3.7435
1.874 3.7435
1.874 3.7435
1.874 3.7435
1.873 3.7695
1.873 3.7695
1.873 3.7695
1.843 3.8425
1.787 3.8985
1.787 3.8985
1.787 3.8985
1.787 3.8985
1.787 3.8985
1.787 3.8985
1.787 3.8985
1.714 3.9285
1.675 3.9305
1.195 3.9305
1.195 3.93
1.105 3.93
1.105 3.9305
0.625 3.9305
0.586 3.9285
0.513 3.8985
0.457 3.8425
0.427 3.7695
0.425 3.7305
0.425 3.6555
0.427 3.6165
0.446 3.5695
0.448 3.5645
0.444 3.5175
0.423 3.5
1.110223025e-16 3.5
1.110223025e-16 3.5
1.110223025e-16 3.578863636
1.110223025e-16 3.673714286
1.110223025e-16 3.737285714
1.110223025e-16 3.8285
1.110223025e-16 4.4515
1.110223025e-16 4.578863636
1.110223025e-16 4.673714286
1.110223025e-16 4.735785714
1.110223025e-16 4.9095
1.110223025e-16 4.91
0.002 4.91
0.002 5
6.288648936 5
6.288648936 4.32
6.007795455 4.32
5.999 4.2985
5.956 4.2805
4.825 4.2805
4.825 3.6305
6.001 3.6305
6.029 3.6235
6.04 3.6175
6.15 3.6005
6.15 3.3105
6.04 3.2935
6.029 3.2875
6.001 3.2805
4.825 3.2805
4.825 2.6305
5.956 2.6305
5.975 2.6275
6.011 2.5965
6.013329787 2.56
6.286886364 2.56
6.283 2.5695
6.301 2.6125
6.344 2.6305
6.475 2.6305
6.475 2.8065
6.482 2.8345
6.485 2.8415
6.488 2.8455
6.505 2.9555
6.488 3.0655
6.487 3.0655
6.482 3.0765
6.475 3.1045
6.475 3.2805
6.299 3.2805
6.271 3.2875
6.26 3.2935
6.15 3.3105
6.15 3.3105
6.15 3.6005
6.26 3.6175
6.271 3.6235
6.299 3.6305
6.475 3.6305
6.475 3.8065
6.482 3.8345
6.485 3.8415
6.488 3.8455
6.505 3.9555
6.488 4.0655
6.487 4.0655
6.482 4.0765
6.475 4.1045
6.475 4.2805
6.344 4.2805
6.325 4.2835
6.289 4.3145
6.288648936 4.32
6.288648936 5
12.9 5
12.9 4.9095
END
4 65 3 N 531 1 1 100 100 0 0 0 Y
TLAYNAM In3.Cu_thin INH
17.825 2.0945
17.827 2.0725
17.832 2.0505
17.838 2.0295
17.847 2.0095
17.857 1.9895
17.869 1.9715
17.883 1.9545
17.899 1.9385
17.916 1.9245
17.934 1.9125
17.954 1.9025
17.974 1.8935
17.995 1.8875
18.017 1.8825
18.039 1.8805
18.061 1.8805
18.083 1.8825
18.105 1.8875
18.126 1.8935
18.146 1.9025
18.166 1.9125
18.184 1.9245
18.201 1.9385
18.217 1.9545
18.231 1.9715
18.243 1.9895
18.253 2.0095
18.262 2.0295
18.268 2.0505
18.273 2.0725
18.275 2.0945
18.275 2.1165
18.273 2.1385
18.268 2.1605
18.262 2.1815
18.253 2.2015
18.243 2.2215
18.231 2.2395
18.217 2.2565
18.201 2.2725
18.184 2.2865
18.166 2.2985
18.146 2.3085
18.126 2.3175
18.105 2.3235
18.083 2.3285
18.061 2.3305
18.039 2.3305
18.017 2.3285
17.995 2.3235
17.974 2.3175
17.954 2.3085
17.934 2.2985
17.916 2.2865
17.899 2.2725
17.883 2.2565
17.869 2.2395
17.857 2.2215
17.847 2.2015
17.838 2.1815
17.832 2.1605
17.827 2.1385
17.825 2.1165
17.825 2.0945
END
4 65 3 N 532 1 1 100 100 0 0 0 Y
TLAYNAM In3.Cu_thin INH
17.825 2.6445
17.827 2.6225
17.832 2.6005
17.838 2.5795
17.847 2.5595
17.857 2.5395
17.869 2.5215
17.883 2.5045
17.899 2.4885
17.916 2.4745
17.934 2.4625
17.954 2.4525
17.974 2.4435
17.995 2.4375
18.017 2.4325
18.039 2.4305
18.061 2.4305
18.083 2.4325
18.105 2.4375
18.126 2.4435
18.146 2.4525
18.166 2.4625
18.184 2.4745
18.201 2.4885
18.217 2.5045
18.231 2.5215
18.243 2.5395
18.253 2.5595
18.262 2.5795
18.268 2.6005
18.273 2.6225
18.275 2.6445
18.275 2.6665
18.273 2.6885
18.268 2.7105
18.262 2.7315
18.253 2.7515
18.243 2.7715
18.231 2.7895
18.217 2.8065
18.201 2.8225
18.184 2.8365
18.166 2.8485
18.146 2.8585
18.126 2.8675
18.105 2.8735
18.083 2.8785
18.061 2.8805
18.039 2.8805
18.017 2.8785
17.995 2.8735
17.974 2.8675
17.954 2.8585
17.934 2.8485
17.916 2.8365
17.899 2.8225
17.883 2.8065
17.869 2.7895
17.857 2.7715
17.847 2.7515
17.838 2.7315
17.832 2.7105
17.827 2.6885
17.825 2.6665
17.825 2.6445
END
4 65 3 N 583 1 1 100 100 0 0 0 Y
TLAYNAM In3.Cu_thin INH
5.925 2.9445
5.927 2.9225
5.932 2.9005
5.938 2.8795
5.947 2.8595
5.957 2.8395
5.969 2.8215
5.983 2.8045
5.999 2.7885
6.016 2.7745
6.034 2.7625
6.054 2.7525
6.074 2.7435
6.095 2.7375
6.117 2.7325
6.139 2.7305
6.161 2.7305
6.183 2.7325
6.205 2.7375
6.226 2.7435
6.246 2.7525
6.266 2.7625
6.284 2.7745
6.301 2.7885
6.317 2.8045
6.331 2.8215
6.343 2.8395
6.353 2.8595
6.362 2.8795
6.368 2.9005
6.373 2.9225
6.375 2.9445
6.375 2.9665
6.373 2.9885
6.368 3.0105
6.362 3.0315
6.353 3.0515
6.343 3.0715
6.331 3.0895
6.317 3.1065
6.301 3.1225
6.284 3.1365
6.266 3.1485
6.246 3.1585
6.226 3.1675
6.205 3.1735
6.183 3.1785
6.161 3.1805
6.139 3.1805
6.117 3.1785
6.095 3.1735
6.074 3.1675
6.054 3.1585
6.034 3.1485
6.016 3.1365
5.999 3.1225
5.983 3.1065
5.969 3.0895
5.957 3.0715
5.947 3.0515
5.938 3.0315
5.932 3.0105
5.927 2.9885
5.925 2.9665
5.925 2.9445
END
4 65 3 N 584 1 1 100 100 0 0 0 Y
TLAYNAM In3.Cu_thin INH
5.925 3.9445
5.927 3.9225
5.932 3.9005
5.938 3.8795
5.947 3.8595
5.957 3.8395
5.969 3.8215
5.983 3.8045
5.999 3.7885
6.016 3.7745
6.034 3.7625
6.054 3.7525
6.074 3.7435
6.095 3.7375
6.117 3.7325
6.139 3.7305
6.161 3.7305
6.183 3.7325
6.205 3.7375
6.226 3.7435
6.246 3.7525
6.266 3.7625
6.284 3.7745
6.301 3.7885
6.317 3.8045
6.331 3.8215
6.343 3.8395
6.353 3.8595
6.362 3.8795
6.368 3.9005
6.373 3.9225
6.375 3.9445
6.375 3.9665
6.373 3.9885
6.368 4.0105
6.362 4.0315
6.353 4.0515
6.343 4.0715
6.331 4.0895
6.317 4.1065
6.301 4.1225
6.284 4.1365
6.266 4.1485
6.246 4.1585
6.226 4.1675
6.205 4.1735
6.183 4.1785
6.161 4.1805
6.139 4.1805
6.117 4.1785
6.095 4.1735
6.074 4.1675
6.054 4.1585
6.034 4.1485
6.016 4.1365
5.999 4.1225
5.983 4.1065
5.969 4.0895
5.957 4.0715
5.947 4.0515
5.938 4.0315
5.932 4.0105
5.927 3.9885
5.925 3.9665
5.925 3.9445
END
4 50 3 N 1357 1 1 100 100 0 0 0 Y
TLAYNAM In3.Cu_thin INH
19.0705 3.4755
19.0705 2.1055
18.405 2.1055
18.388 2.2155
18.337 2.3145
18.314 2.3375
18.296 2.3805
18.314 2.4235
18.337 2.4465
18.388 2.5455
18.405 2.6555
18.388 2.7655
18.337 2.8645
18.259 2.9425
18.233 2.9555
18.16 2.9935
18.05 3.0105
17.94 2.9935
17.877 2.9605
17.841 2.9425
17.763 2.8645
17.712 2.7655
17.695 2.6555
17.712 2.5455
17.763 2.4465
17.786 2.4235
17.804 2.3805
17.786 2.3375
17.763 2.3145
17.712 2.2155
17.695 2.1055
17.712 1.9955
17.763 1.8965
17.841 1.8185
17.94 1.7675
18.05 1.7505
18.16 1.7675
18.259 1.8185
18.337 1.8965
18.388 1.9955
18.405 2.1055
19.0705 2.1055
19.0705 0.0605
18.34 0.0605
18.34 0.0605
16.4 0.0605
16.4 0.6645
16.4 4.9095
19.0705 4.9095
19.0705 3.4755
END
4 75 3 N 1407 1 1 100 100 0 0 0 Y
TLAYNAM In3.Cu_thin INH
7.4 0.0605
3.21 0.0605
3.21 4.9095
5.860424 4.9095
5.860424 4.9095
5.8 4.9095
5.8 4.737852941
5.795 4.7055
5.8 4.673147059
5.8 4.34
6.034574468 4.34
6.037 4.3115
6.006 4.2755
5.969 4.2565
5.941 4.2425
5.863 4.1645
5.812 4.0655
5.795 3.9555
5.812 3.8455
5.863 3.7465
5.941 3.6685
6.04 3.6175
6.15 3.6005
6.15 3.3105
6.04 3.2935
5.969 3.2565
5.941 3.2425
5.863 3.1645
5.812 3.0655
5.795 2.9555
5.812 2.8455
5.863 2.7465
5.941 2.6685
6.006 2.6355
6.033 2.6085
6.035425532 2.58
5.78 2.58
5.78 1.84
6.52 1.84
6.52 2.58
6.264659574 2.58
6.263 2.5995
6.294 2.6355
6.359 2.6685
6.437 2.7465
6.488 2.8455
6.505 2.9555
6.488 3.0655
6.437 3.1645
6.359 3.2425
6.29 3.2775
6.26 3.2935
6.15 3.3105
6.15 3.6005
6.15 3.6005
6.26 3.6175
6.359 3.6685
6.437 3.7465
6.488 3.8455
6.505 3.9555
6.488 4.0655
6.437 4.1645
6.359 4.2425
6.294 4.2755
6.267 4.3025
6.263808511 4.34
6.4965 4.34
6.4965 4.6505
6.505 4.7055
6.4965 4.7605
6.4965 4.9095
6.439576 4.9095
6.439576 4.9095
7.4 4.9095
7.4 0.0605
END
5 65 0 N 683 1 1 100 100 0 0 0 Y
TLAYNAM In4.Cu INH
17.825 2.0945
17.827 2.0725
17.832 2.0505
17.838 2.0295
17.847 2.0095
17.857 1.9895
17.869 1.9715
17.883 1.9545
17.899 1.9385
17.916 1.9245
17.934 1.9125
17.954 1.9025
17.974 1.8935
17.995 1.8875
18.017 1.8825
18.039 1.8805
18.061 1.8805
18.083 1.8825
18.105 1.8875
18.126 1.8935
18.146 1.9025
18.166 1.9125
18.184 1.9245
18.201 1.9385
18.217 1.9545
18.231 1.9715
18.243 1.9895
18.253 2.0095
18.262 2.0295
18.268 2.0505
18.273 2.0725
18.275 2.0945
18.275 2.1165
18.273 2.1385
18.268 2.1605
18.262 2.1815
18.253 2.2015
18.243 2.2215
18.231 2.2395
18.217 2.2565
18.201 2.2725
18.184 2.2865
18.166 2.2985
18.146 2.3085
18.126 2.3175
18.105 2.3235
18.083 2.3285
18.061 2.3305
18.039 2.3305
18.017 2.3285
17.995 2.3235
17.974 2.3175
17.954 2.3085
17.934 2.2985
17.916 2.2865
17.899 2.2725
17.883 2.2565
17.869 2.2395
17.857 2.2215
17.847 2.2015
17.838 2.1815
17.832 2.1605
17.827 2.1385
17.825 2.1165
17.825 2.0945
END
5 65 0 N 684 1 1 100 100 0 0 0 Y
TLAYNAM In4.Cu INH
17.825 2.6445
17.827 2.6225
17.832 2.6005
17.838 2.5795
17.847 2.5595
17.857 2.5395
17.869 2.5215
17.883 2.5045
17.899 2.4885
17.916 2.4745
17.934 2.4625
17.954 2.4525
17.974 2.4435
17.995 2.4375
18.017 2.4325
18.039 2.4305
18.061 2.4305
18.083 2.4325
18.105 2.4375
18.126 2.4435
18.146 2.4525
18.166 2.4625
18.184 2.4745
18.201 2.4885
18.217 2.5045
18.231 2.5215
18.243 2.5395
18.253 2.5595
18.262 2.5795
18.268 2.6005
18.273 2.6225
18.275 2.6445
18.275 2.6665
18.273 2.6885
18.268 2.7105
18.262 2.7315
18.253 2.7515
18.243 2.7715
18.231 2.7895
18.217 2.8065
18.201 2.8225
18.184 2.8365
18.166 2.8485
18.146 2.8585
18.126 2.8675
18.105 2.8735
18.083 2.8785
18.061 2.8805
18.039 2.8805
18.017 2.8785
17.995 2.8735
17.974 2.8675
17.954 2.8585
17.934 2.8485
17.916 2.8365
17.899 2.8225
17.883 2.8065
17.869 2.7895
17.857 2.7715
17.847 2.7515
17.838 2.7315
17.832 2.7105
17.827 2.6885
17.825 2.6665
17.825 2.6445
END
5 65 0 N 718 1 1 100 100 0 0 0 Y
TLAYNAM In4.Cu INH
5.925 2.9445
5.927 2.9225
5.932 2.9005
5.938 2.8795
5.947 2.8595
5.957 2.8395
5.969 2.8215
5.983 2.8045
5.999 2.7885
6.016 2.7745
6.034 2.7625
6.054 2.7525
6.074 2.7435
6.095 2.7375
6.117 2.7325
6.139 2.7305
6.161 2.7305
6.183 2.7325
6.205 2.7375
6.226 2.7435
6.246 2.7525
6.266 2.7625
6.284 2.7745
6.301 2.7885
6.317 2.8045
6.331 2.8215
6.343 2.8395
6.353 2.8595
6.362 2.8795
6.368 2.9005
6.373 2.9225
6.375 2.9445
6.375 2.9665
6.373 2.9885
6.368 3.0105
6.362 3.0315
6.353 3.0515
6.343 3.0715
6.331 3.0895
6.317 3.1065
6.301 3.1225
6.284 3.1365
6.266 3.1485
6.246 3.1585
6.226 3.1675
6.205 3.1735
6.183 3.1785
6.161 3.1805
6.139 3.1805
6.117 3.1785
6.095 3.1735
6.074 3.1675
6.054 3.1585
6.034 3.1485
6.016 3.1365
5.999 3.1225
5.983 3.1065
5.969 3.0895
5.957 3.0715
5.947 3.0515
5.938 3.0315
5.932 3.0105
5.927 2.9885
5.925 2.9665
5.925 2.9445
END
5 65 0 N 719 1 1 100 100 0 0 0 Y
TLAYNAM In4.Cu INH
5.925 3.9445
5.927 3.9225
5.932 3.9005
5.938 3.8795
5.947 3.8595
5.957 3.8395
5.969 3.8215
5.983 3.8045
5.999 3.7885
6.016 3.7745
6.034 3.7625
6.054 3.7525
6.074 3.7435
6.095 3.7375
6.117 3.7325
6.139 3.7305
6.161 3.7305
6.183 3.7325
6.205 3.7375
6.226 3.7435
6.246 3.7525
6.266 3.7625
6.284 3.7745
6.301 3.7885
6.317 3.8045
6.331 3.8215
6.343 3.8395
6.353 3.8595
6.362 3.8795
6.368 3.9005
6.373 3.9225
6.375 3.9445
6.375 3.9665
6.373 3.9885
6.368 4.0105
6.362 4.0315
6.353 4.0515
6.343 4.0715
6.331 4.0895
6.317 4.1065
6.301 4.1225
6.284 4.1365
6.266 4.1485
6.246 4.1585
6.226 4.1675
6.205 4.1735
6.183 4.1785
6.161 4.1805
6.139 4.1805
6.117 4.1785
6.095 4.1735
6.074 4.1675
6.054 4.1585
6.034 4.1485
6.016 4.1365
5.999 4.1225
5.983 4.1065
5.969 4.0895
5.957 4.0715
5.947 4.0515
5.938 4.0315
5.932 4.0105
5.927 3.9885
5.925 3.9665
5.925 3.9445
END
5 125 0 N 1367 1 1 100 100 0 0 0 Y
TLAYNAM In4.Cu INH
20 4.9095
19.0705 4.9095
19.0705 4.9095
20 4.9095
20 2.1055
18.405 2.1055
18.388 2.2155
18.337 2.3145
18.314 2.3375
18.296 2.3805
18.314 2.4235
18.337 2.4465
18.388 2.5455
18.405 2.6555
18.388 2.7655
18.337 2.8645
18.259 2.9425
18.233 2.9555
18.16 2.9935
18.05 3.0105
17.94 2.9935
17.877 2.9605
17.841 2.9425
17.763 2.8645
17.712 2.7655
17.695 2.6555
17.712 2.5455
17.763 2.4465
17.786 2.4235
17.804 2.3805
17.786 2.3375
17.763 2.3145
17.712 2.2155
17.695 2.1055
17.712 1.9955
17.763 1.8965
17.841 1.8185
17.94 1.7675
18.05 1.7505
18.16 1.7675
18.259 1.8185
18.337 1.8965
18.388 1.9955
18.405 2.1055
20 2.1055
20 1.45
20 0
4.49 0
4.49 4.440892099e-16
0 4.440892099e-16
0 0.0605
0 0.6731470588
0 0.7372857143
0 0.8285
0 1.578863636
0 1.673714286
0 1.737285714
-8.67361738e-19 1.8285
0 1.8285
0 2.578863636
0 2.673714286
0 2.737285714
0 2.8285
0 3.578863636
1.084202172e-19 3.673714286
0 3.673714286
0 3.737285714
0 3.8285
0 4.578863636
0 4.673714286
0 4.735785714
0 4.9095
0 5
6.15 5
6.15 4.3105
6.04 4.2935
6.015 4.2805
5.941 4.2425
5.863 4.1645
5.812 4.0655
5.795 3.9555
5.812 3.8455
5.863 3.7465
5.941 3.6685
6.04 3.6175
6.15 3.6005
6.15 3.3105
6.04 3.2935
6.015 3.2805
5.941 3.2425
5.863 3.1645
5.812 3.0655
5.795 2.9555
5.812 2.8455
5.863 2.7465
5.941 2.6685
6.04 2.6175
6.15 2.6005
6.26 2.6175
6.359 2.6685
6.437 2.7465
6.488 2.8455
6.505 2.9555
6.488 3.0655
6.437 3.1645
6.359 3.2425
6.29 3.2775
6.26 3.2935
6.15 3.3105
6.15 3.3105
6.15 3.6005
6.26 3.6175
6.359 3.6685
6.437 3.7465
6.488 3.8455
6.505 3.9555
6.488 4.0655
6.437 4.1645
6.359 4.2425
6.29 4.2775
6.26 4.2935
6.15 4.3105
6.15 5
20 5
20 4.9095
END
6 156 2 N 790 1 1 100 100 0 0 0 Y
TLAYNAM B.Cu_thick INH
5.925 2.9445
5.927 2.9225
5.932 2.9005
5.938 2.8795
5.947 2.8595
5.957 2.8395
5.969 2.8215
5.983 2.8045
5.999 2.7885
6.016 2.7745
6.034 2.7625
6.054 2.7525
6.074 2.7435
6.095 2.7375
6.117 2.7325
6.139 2.7305
6.161 2.7305
6.183 2.7325
6.205 2.7375
6.226 2.7435
6.246 2.7525
6.266 2.7625
6.284 2.7745
6.301 2.7885
6.317 2.8045
6.331 2.8215
6.343 2.8395
6.353 2.8595
6.362 2.8795
6.368 2.9005
6.373 2.9225
6.375 2.9445
6.375 2.9665
6.373 2.9885
6.368 3.0105
6.362 3.0315
6.353 3.0515
6.343 3.0715
6.337 3.0795
6.568 3.3105
10.441 3.3105
11.496 2.2555
11.497 2.2535
11.503 2.2475
11.507 2.2445
11.51 2.2415
11.514 2.2395
11.518 2.2385
11.523 2.2365
11.527 2.2355
17.857 2.2355
17.863 2.2295
17.857 2.2215
17.847 2.2015
17.838 2.1815
17.832 2.1605
17.827 2.1385
17.825 2.1165
17.825 2.0945
17.827 2.0725
17.832 2.0505
17.838 2.0295
17.847 2.0095
17.857 1.9895
17.869 1.9715
17.883 1.9545
17.899 1.9385
17.916 1.9245
17.934 1.9125
17.954 1.9025
17.974 1.8935
17.995 1.8875
18.017 1.8825
18.039 1.8805
18.061 1.8805
18.083 1.8825
18.105 1.8875
18.126 1.8935
18.146 1.9025
18.166 1.9125
18.184 1.9245
18.201 1.9385
18.217 1.9545
18.231 1.9715
18.243 1.9895
18.253 2.0095
18.262 2.0295
18.268 2.0505
18.273 2.0725
18.275 2.0945
18.275 2.1165
18.273 2.1385
18.268 2.1605
18.262 2.1815
18.253 2.2015
18.243 2.2215
18.231 2.2395
18.217 2.2565
18.201 2.2725
18.184 2.2865
18.166 2.2985
18.146 2.3085
18.126 2.3175
18.105 2.3235
18.083 2.3285
18.061 2.3305
18.039 2.3305
18.017 2.3285
17.995 2.3235
17.974 2.3175
17.954 2.3085
17.934 2.2985
17.926 2.2925
17.902 2.3165
17.898 2.3195
17.894 2.3215
17.89 2.3225
17.886 2.3245
17.882 2.3255
11.552 2.3255
10.486 3.3915
10.482 3.3945
10.478 3.3965
10.474 3.3975
10.47 3.3995
10.466 3.4005
6.543 3.4005
6.539 3.3995
6.535 3.3975
6.531 3.3965
6.527 3.3945
6.523 3.3915
6.274 3.1425
6.266 3.1485
6.246 3.1585
6.226 3.1675
6.205 3.1735
6.183 3.1785
6.161 3.1805
6.139 3.1805
6.117 3.1785
6.095 3.1735
6.074 3.1675
6.054 3.1585
6.034 3.1485
6.016 3.1365
5.999 3.1225
5.983 3.1065
5.969 3.0895
5.957 3.0715
5.947 3.0515
5.938 3.0315
5.932 3.0105
5.927 2.9885
5.925 2.9665
5.925 2.9445
END
6 156 2 N 791 1 1 100 100 0 0 0 Y
TLAYNAM B.Cu_thick INH
5.925 3.9445
5.927 3.9225
5.932 3.9005
5.938 3.8795
5.947 3.8595
5.957 3.8395
5.969 3.8215
5.983 3.8045
5.999 3.7885
6.016 3.7745
6.034 3.7625
6.054 3.7525
6.074 3.7435
6.095 3.7375
6.117 3.7325
6.139 3.7305
6.161 3.7305
6.183 3.7325
6.205 3.7375
6.226 3.7435
6.246 3.7525
6.266 3.7625
6.274 3.7685
6.512 3.5305
6.513 3.5285
6.519 3.5225
6.523 3.5195
6.526 3.5165
6.53 3.5145
6.534 3.5135
6.539 3.5115
6.543 3.5105
10.523 3.5105
11.589 2.4445
11.593 2.4415
11.597 2.4395
11.601 2.4385
11.605 2.4365
11.609 2.4355
17.882 2.4355
17.886 2.4365
17.89 2.4385
17.894 2.4395
17.898 2.4415
17.902 2.4445
17.926 2.4685
17.934 2.4625
17.954 2.4525
17.974 2.4435
17.995 2.4375
18.017 2.4325
18.039 2.4305
18.061 2.4305
18.083 2.4325
18.105 2.4375
18.126 2.4435
18.146 2.4525
18.166 2.4625
18.184 2.4745
18.201 2.4885
18.217 2.5045
18.231 2.5215
18.243 2.5395
18.253 2.5595
18.262 2.5795
18.268 2.6005
18.273 2.6225
18.275 2.6445
18.275 2.6665
18.273 2.6885
18.268 2.7105
18.262 2.7315
18.253 2.7515
18.243 2.7715
18.231 2.7895
18.217 2.8065
18.201 2.8225
18.184 2.8365
18.166 2.8485
18.146 2.8585
18.126 2.8675
18.105 2.8735
18.083 2.8785
18.061 2.8805
18.039 2.8805
18.017 2.8785
17.995 2.8735
17.974 2.8675
17.954 2.8585
17.934 2.8485
17.916 2.8365
17.899 2.8225
17.883 2.8065
17.869 2.7895
17.857 2.7715
17.847 2.7515
17.838 2.7315
17.832 2.7105
17.827 2.6885
17.825 2.6665
17.825 2.6445
17.827 2.6225
17.832 2.6005
17.838 2.5795
17.847 2.5595
17.857 2.5395
17.863 2.5315
17.857 2.5255
11.634 2.5255
10.568 3.5915
10.564 3.5945
10.56 3.5965
10.556 3.5975
10.552 3.5995
10.548 3.6005
6.568 3.6005
6.337 3.8315
6.343 3.8395
6.353 3.8595
6.362 3.8795
6.368 3.9005
6.373 3.9225
6.375 3.9445
6.375 3.9665
6.373 3.9885
6.368 4.0105
6.362 4.0315
6.353 4.0515
6.343 4.0715
6.331 4.0895
6.317 4.1065
6.301 4.1225
6.284 4.1365
6.266 4.1485
6.246 4.1585
6.226 4.1675
6.205 4.1735
6.183 4.1785
6.161 4.1805
6.139 4.1805
6.117 4.1785
6.095 4.1735
6.074 4.1675
6.054 4.1585
6.034 4.1485
6.016 4.1365
5.999 4.1225
5.983 4.1065
5.969 4.0895
5.957 4.0715
5.947 4.0515
5.938 4.0315
5.932 4.0105
5.927 3.9885
5.925 3.9665
5.925 3.9445
END
END GEO
OPT
MAX 100
END OPT
VARSWP
ENABLED Y
FREQ Y AY ABS_ENTRY 0.01 20.0 -1 300 
VAR WIDTH N 0.1 0.1 UNDEF
END
END VARSWP
3DOPTIONS
GLOBAL 1
ALL 9 1
END 3DOPTIONS
```
